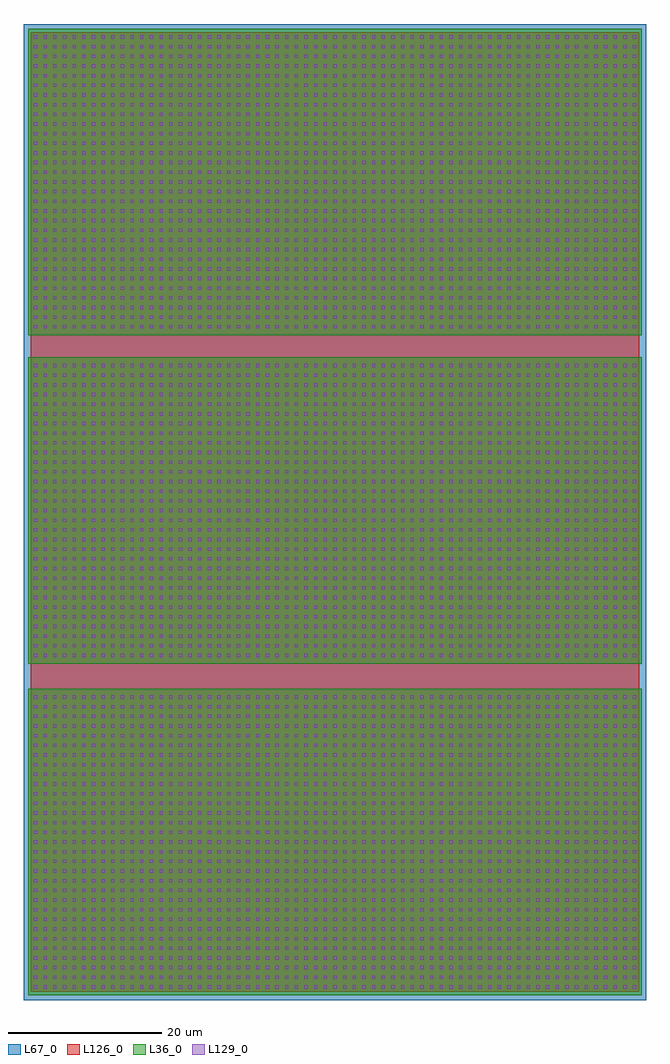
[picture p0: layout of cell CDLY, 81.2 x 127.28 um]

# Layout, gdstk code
from math import pi, radians
import gdstk
lib = gdstk.Library(unit=1e-6, precision=1e-09)
def R(c, l, rs):  # rectangles x0, y0, x1, y1
    for r in rs: c.add(gdstk.rectangle(r[:2], r[2:], *l))
def A(c, l, x, y, w, h, nx, ny, dx, dy):  # array of equal rectangles
    R(c, l, [(x+i*dx, y+j*dy, x+i*dx+w, y+j*dy+h) for i in range(nx) for j in range(ny)])
L36_0 = (36, 0)
L67_0 = (67, 0)
L126_0 = (126, 0)
L129_0 = (129, 0)

cmim = lib.new_cell('cmim')
R(cmim, L36_0, [(0,0,80,40)])
R(cmim, L67_0, [(-0.6,-0.6,80.6,40.6)])
R(cmim, L126_0, [(0.305,0.465,79.685,39.525)])
A(cmim, L129_0, 0.725, 0.885, 0.42, 0.42, 63, 31, 1.26, 1.26)

cdly = lib.new_cell('CDLY')
R(cdly, L67_0, [(-39.115,-26.88,42.085,-17.28), (-39.115,10.24,42.085,31.8)])
R(cdly, L126_0, [(-38.2,-26.425,41.18,-18.46), (-38.2,15.83,41.18,28.08)])
cdly.add(gdstk.Reference(cmim, (41.485,20.145), rotation=pi))
cdly.add(gdstk.Reference(cmim, (41.485,62.995), rotation=pi))
cdly.add(gdstk.Reference(cmim, (41.485,-23.08), rotation=pi))

lib.write_gds('CDLY.gds')
